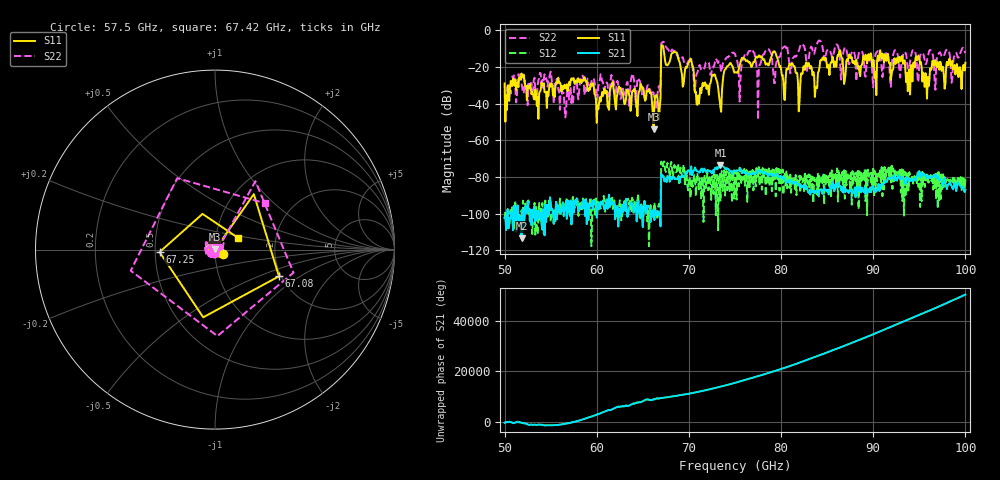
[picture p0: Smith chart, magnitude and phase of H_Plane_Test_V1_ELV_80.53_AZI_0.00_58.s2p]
! 11/27/2026 8:40:42 AM
! C:\ANRITSUVNA\TEMP\TEMP.S2P
! CHANNEL.1
! TR.MEASUREMENT
! RAW.DATA
# HZ S RI R 50.0
! FREQ.HZ  S11RE  S11IM  S21RE  S21IM  S12RE  S12IM  S22RE  S22IM
!; PortSelection: Port_12
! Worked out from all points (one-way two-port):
!   601 points, 50 GHz to 100 GHz, reference 50 ohm
!   highest |S21| = -73.55 dB at 73.42 GHz (marker M1); lowest = -113.4 dB at 51.83 GHz (marker M2)
!   lowest |S11| = -53.9 dB at 66.17 GHz (marker M3), VSWR 1.00, Z = 50.1 + j0.146 ohm
!   |S11| at or under -10 dB: start of sweep to 67 GHz; 67.24 GHz to end of sweep
!   |S22| runs from -48.8 to -5.6 dB; largest |S21 - S12| = 0.00034
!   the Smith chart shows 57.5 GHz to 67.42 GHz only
!   S11 on the Smith chart (normalised r, x): 57.5 GHz: 1.09, -0.05; 67.08 GHz: 1.95, -0.68; 67.25 GHz: 0.53, -0.02; 67.42 GHz: 1.29, +0.17
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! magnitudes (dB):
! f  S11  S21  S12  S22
! 50 GHz  -29.1  -102.3  -103.0  -35.3
! 51.83 GHz  -23.6  -113.4  -98.4  -28.9
! 53.42 GHz  -34.9  -99.2  -96.4  -34.8
! 57.5 GHz  -26.2  -99.4  -95.4  -34.5
! 58.42 GHz  -27.1  -93.7  -96.9  -24.8
! 60.17 GHz  -43.1  -94.3  -93.1  -30.1
! 66.17 GHz  -53.9  -97.7  -98.5  -34.0
! 66.67 GHz  -41.8  -100.0  -96.3  -31.6
! 67.08 GHz  -8.3  -79.3  -74.5  -6.8
! 67.25 GHz  -10.2  -79.5  -71.7  -6.3
! 67.42 GHz  -16.7  -82.4  -76.1  -8.4
! 70.17 GHz  -15.4  -78.7  -91.3  -18.6
! 70.67 GHz  -34.0  -74.9  -80.6  -32.7
! 73.42 GHz  -42.0  -73.5  -93.4  -19.8
! 75 GHz  -23.1  -76.7  -76.7  -13.0
! 77.58 GHz  -13.8  -76.9  -74.6  -21.6
! 78.5 GHz  -18.2  -78.4  -78.7  -10.8
! 79.33 GHz  -11.7  -79.4  -75.8  -28.8
! 80.25 GHz  -28.0  -81.1  -89.7  -9.4
! 83.42 GHz  -24.6  -87.8  -79.9  -10.8
! 91.67 GHz  -16.8  -80.4  -74.9  -15.2
! 100 GHz  -17.7  -86.9  -81.2  -12.5
